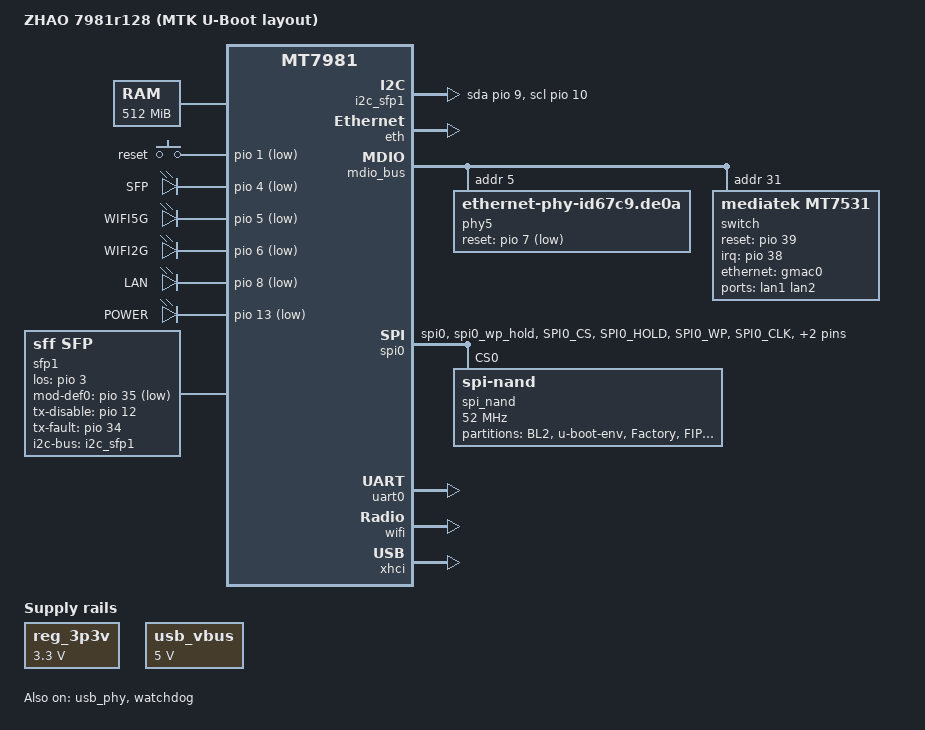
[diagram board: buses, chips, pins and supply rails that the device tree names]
// SPDX-License-Identifier: GPL-2.0-or-later OR MIT

/dts-v1/;
#include <dt-bindings/gpio/gpio.h>
#include <dt-bindings/input/input.h>
#include <dt-bindings/pinctrl/mt65xx.h>

#include "mt7981b.dtsi"

/ {
	model = "ZHAO 7981r128 (MTK U-Boot layout)";
	compatible = "zhao,7981r128", "mediatek,mt7981";

	aliases {
		label-mac-device = &gmac0;
		led-boot = &led_power;
		led-failsafe = &led_power;
		led-running = &led_power;
		led-upgrade = &led_power;
		serial0 = &uart0;
	};

	chosen {
		stdout-path = "serial0:115200n8";
	};

	memory@40000000 {
		reg = <0 0x40000000 0 0x20000000>;
		device_type = "memory";
	};

	gpio-keys {
		compatible = "gpio-keys";

		reset {
			label = "reset";
			linux,code = <KEY_RESTART>;
			gpios = <&pio 1 GPIO_ACTIVE_LOW>;
		};
	};

	leds {
		compatible = "gpio-leds";

		led_sfp: sfp {
			label = "SFP";
			gpios = <&pio 4 GPIO_ACTIVE_LOW>;
			default-state = "off";
		};

		led_wifi5g: wifi5g {
			label = "WIFI5G";
			gpios = <&pio 5 GPIO_ACTIVE_LOW>;
			default-state = "off";
			linux,default-trigger = "phy1tpt";
		};

		led_wifi2g: wifi2g {
			label = "WIFI2G";
			gpios = <&pio 6 GPIO_ACTIVE_LOW>;
			default-state = "off";
			linux,default-trigger = "phy0tpt";
		};

		led_lan: lan {
			label = "LAN";
			gpios = <&pio 8 GPIO_ACTIVE_LOW>;
			default-state = "off";
		};

		led_power: power {
			label = "POWER";
			gpios = <&pio 13 GPIO_ACTIVE_LOW>;
			default-state = "on";
		};
	};

	i2c_sfp1: i2c-gpio-0 {
		compatible = "i2c-gpio";
		sda-gpios = <&pio 9 (GPIO_ACTIVE_HIGH | GPIO_OPEN_DRAIN)>;
		scl-gpios = <&pio 10 (GPIO_ACTIVE_HIGH | GPIO_OPEN_DRAIN)>;
		i2c-gpio,delay-us = <2>;
		#address-cells = <1>;
		#size-cells = <0>;
	};

	sfp1: sfp-wan {
		compatible = "sff,sfp";
		i2c-bus = <&i2c_sfp1>;
		los-gpios = <&pio 3 GPIO_ACTIVE_HIGH>;
		mod-def0-gpios = <&pio 35 GPIO_ACTIVE_LOW>;
		tx-disable-gpios = <&pio 12 GPIO_ACTIVE_HIGH>;
		tx-fault-gpios = <&pio 34 GPIO_ACTIVE_HIGH>;
		maximum-power-milliwatt = <3000>;
	};

	reg_3p3v: regulator-3p3v {
		compatible = "regulator-fixed";
		regulator-name = "fixed-3.3V";
		regulator-min-microvolt = <3300000>;
		regulator-max-microvolt = <3300000>;
		regulator-boot-on;
		regulator-always-on;
	};

	usb_vbus: regulator-usb-vbus {
		compatible = "regulator-fixed";
		regulator-name = "usb_vbus";
		regulator-min-microvolt = <5000000>;
		regulator-max-microvolt = <5000000>;
		enable-active-high;
		regulator-boot-on;
	};
};

&eth {
	status = "okay";

	gmac0: mac@0 {
		compatible = "mediatek,eth-mac";
		reg = <0>;
		phy-mode = "2500base-x";

		nvmem-cell-names = "mac-address";
		nvmem-cells = <&macaddr_factory_4 0>;

		fixed-link {
			speed = <2500>;
			full-duplex;
			pause;
		};
	};

	gmac1: mac@1 {
		compatible = "mediatek,eth-mac";
		reg = <1>;
		phy-mode = "2500base-x";
		managed = "in-band-status";
		sfp = <&sfp1>;

		nvmem-cell-names = "mac-address";
		nvmem-cells = <&macaddr_factory_4 1>;
	};
};

&mdio_bus {
	phy5: phy@5 {
		compatible = "ethernet-phy-id67c9.de0a";
		reg = <5>;
		reset-gpios = <&pio 7 GPIO_ACTIVE_LOW>;
		reset-assert-us = <600>;
		reset-deassert-us = <20000>;
		phy-mode = "2500base-x";
	};

	switch: switch@1f {
		compatible = "mediatek,mt7531";
		reg = <0x1f>;
		reset-gpios = <&pio 39 GPIO_ACTIVE_HIGH>;
		interrupt-controller;
		#interrupt-cells = <1>;
		interrupt-parent = <&pio>;
		interrupts = <38 IRQ_TYPE_LEVEL_HIGH>;
	};
};

&switch {
	ports {
		#address-cells = <1>;
		#size-cells = <0>;

		port@1 {
			reg = <1>;
			label = "lan1";
		};

		port@5 {
			reg = <5>;
			label = "lan2";
			phy-mode = "2500base-x";
			phy-handle = <&phy5>;
		};

		port@6 {
			reg = <6>;
			ethernet = <&gmac0>;
			phy-mode = "2500base-x";

			fixed-link {
				speed = <2500>;
				full-duplex;
				pause;
			};
		};
	};
};

&spi0 {
	pinctrl-names = "default";
	pinctrl-0 = <&spi0_flash_pins>;
	status = "okay";

	spi_nand: spi_nand@0 {
		compatible = "spi-nand";
		reg = <0>;

		spi-max-frequency = <52000000>;
		spi-tx-bus-width = <4>;
		spi-rx-bus-width = <4>;

		spi-cal-enable;
		spi-cal-mode = "read-data";
		spi-cal-datalen = <7>;
		spi-cal-data = /bits/ 8 <0x53 0x50 0x49 0x4e 0x41 0x4e 0x44>;
		spi-cal-addrlen = <5>;
		spi-cal-addr = /bits/ 32 <0x0 0x0 0x0 0x0 0x0>;

		mediatek,nmbm;
		mediatek,bmt-max-ratio = <1>;
		mediatek,bmt-max-reserved-blocks = <64>;

		partitions {
			compatible = "fixed-partitions";
			#address-cells = <1>;
			#size-cells = <1>;

			partition@0 {
				label = "BL2";
				reg = <0x0 0x100000>;
				read-only;
			};

			partition@100000 {
				label = "u-boot-env";
				reg = <0x100000 0x80000>;
			};

			factory: partition@180000 {
				label = "Factory";
				reg = <0x180000 0x200000>;
				read-only;

				nvmem-layout {
					compatible = "fixed-layout";
					#address-cells = <1>;
					#size-cells = <1>;

					eeprom_factory_0: eeprom@0 {
						reg = <0x0 0x1000>;
					};

					macaddr_factory_4: macaddr@4 {
						compatible = "mac-base";
						reg = <0x4 0x6>;
						#nvmem-cell-cells = <1>;
					};
				};
			};

			partition@380000 {
				label = "FIP";
				reg = <0x380000 0x200000>;
				read-only;
			};

			partition@580000 {
				label = "ubi";
				reg = <0x580000 0x7200000>;
			};
		};
	};
};

&pio {
	spi0_flash_pins: spi0-pins {
		mux {
			function = "spi";
			groups = "spi0", "spi0_wp_hold";
		};

		conf-pu {
			pins = "SPI0_CS", "SPI0_HOLD", "SPI0_WP";
			drive-strength = <MTK_DRIVE_8mA>;
			bias-pull-up = <MTK_PUPD_SET_R1R0_11>;
		};

		conf-pd {
			pins = "SPI0_CLK", "SPI0_MOSI", "SPI0_MISO";
			drive-strength = <MTK_DRIVE_8mA>;
			bias-pull-down = <MTK_PUPD_SET_R1R0_11>;
		};
	};
};

&uart0 {
	status = "okay";
};

&usb_phy {
	status = "okay";
};

&watchdog {
	status = "okay";
};

&wifi {
	status = "okay";

	mediatek,mtd-eeprom = <&factory 0x0>;
	nvmem-cell-names = "eeprom";
	nvmem-cells = <&eeprom_factory_0>;
};

&xhci {
	mediatek,u3p-dis-msk = <0x0>;
	status = "okay";
};
